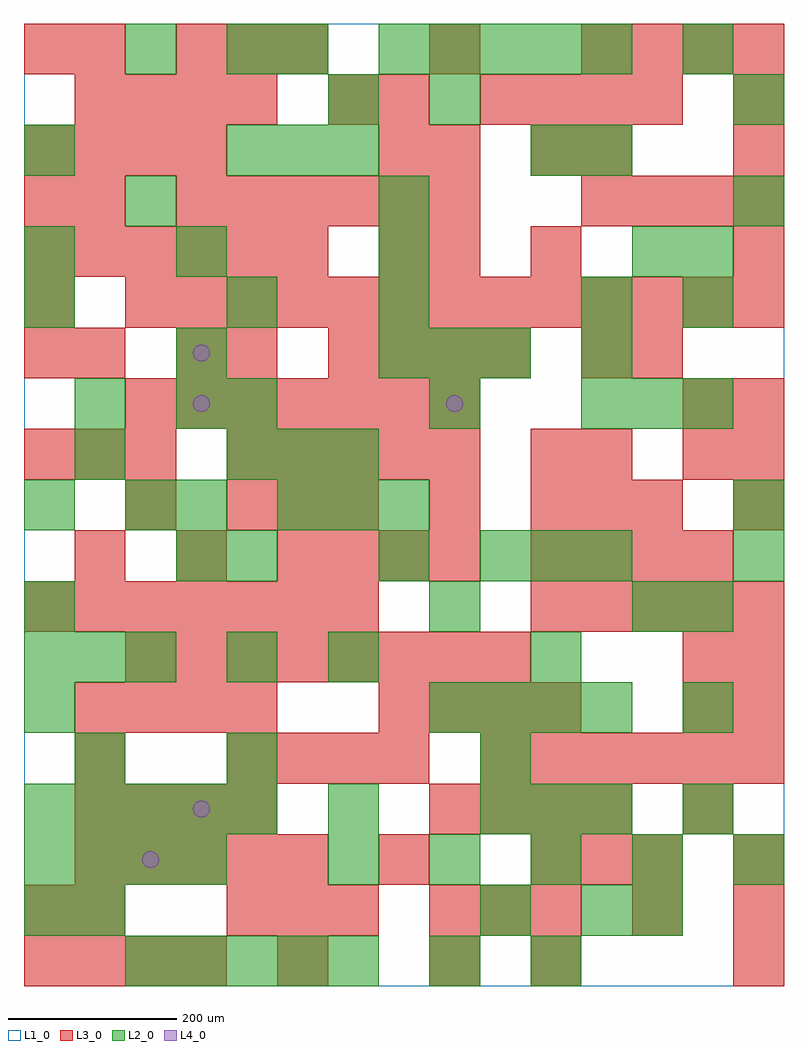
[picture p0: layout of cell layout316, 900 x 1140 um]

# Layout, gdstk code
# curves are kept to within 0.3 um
import gdstk
lib = gdstk.Library(unit=1e-6, precision=1e-09)
def R(c, l, rs):  # rectangles x0, y0, x1, y1
    for r in rs: c.add(gdstk.rectangle(r[:2], r[2:], *l))
def A(c, l, x, y, w, h, nx, ny, dx, dy):  # array of equal rectangles
    R(c, l, [(x+i*dx, y+j*dy, x+i*dx+w, y+j*dy+h) for i in range(nx) for j in range(ny)])
def P(c, l, *ps):  # polygons
    for p in ps: c.add(gdstk.Polygon(p, *l))
L1_0 = (1, 0)
L2_0 = (2, 0)
L3_0 = (3, 0)
L4_0 = (4, 0)

layout316 = lib.new_cell('layout316')
R(layout316, L1_0, [(0,0,900,1140)])
A(layout316, L2_0, 120, 0, 60, 60, 5, 1, 60, 0)
A(layout316, L2_0, 0, 120, 60, 60, 4, 1, 60, 0)
A(layout316, L2_0, 360, 120, 60, 60, 5, 1, 120, 0)
A(layout316, L2_0, 0, 180, 60, 60, 5, 1, 60, 0)
A(layout316, L2_0, 540, 180, 60, 60, 3, 2, 60, 300)
A(layout316, L2_0, 780, 180, 60, 60, 1, 3, 0, 120)
A(layout316, L2_0, 240, 240, 60, 60, 1, 3, 0, 120)
A(layout316, L2_0, 0, 300, 60, 60, 1, 3, 0, 120)
A(layout316, L2_0, 480, 300, 60, 60, 4, 1, 60, 0)
A(layout316, L2_0, 0, 360, 60, 60, 3, 1, 60, 0)
A(layout316, L2_0, 300, 540, 60, 60, 3, 1, 60, 0)
A(layout316, L2_0, 240, 600, 60, 60, 3, 2, 60, 360)
A(layout316, L2_0, 660, 660, 60, 60, 3, 1, 60, 0)
A(layout316, L2_0, 420, 720, 60, 60, 3, 1, 60, 0)
A(layout316, L2_0, 420, 780, 60, 60, 1, 3, 0, 60)
A(layout316, L2_0, 420, 1080, 60, 60, 5, 1, 60, 0)
R(layout316, L2_0, [(480,0,540,60), (600,0,660,60), (0,60,60,120), (60,60,120,120), (540,60,600,120), (660,60,720,120), (720,60,780,120), (360,180,420,240), (60,240,120,300), (540,240,600,300), (360,360,420,420), (600,360,660,420), (480,420,540,480), (720,420,780,480), (180,480,240,540), (420,480,480,540), (840,480,900,540), (120,540,180,600), (180,540,240,600), (840,540,900,600), (60,600,120,660), (60,660,120,720), (180,660,240,720), (240,660,300,720), (480,660,540,720), (180,720,240,780), (660,720,720,780), (0,780,60,840), (240,780,300,840), (660,780,720,840), (780,780,840,840), (0,840,60,900), (180,840,240,900), (720,840,780,900), (780,840,840,900), (120,900,180,960), (840,900,900,960), (0,960,60,1020), (600,960,660,1020), (660,960,720,1020), (360,1020,420,1080), (480,1020,540,1080), (840,1020,900,1080), (120,1080,180,1140), (240,1080,300,1140), (300,1080,360,1140), (780,1080,840,1140)])
A(layout316, L3_0, 0, 0, 60, 60, 4, 2, 60, 960)
A(layout316, L3_0, 840, 0, 60, 60, 1, 3, 0, 60)
A(layout316, L3_0, 240, 60, 60, 60, 3, 2, 60, 480)
A(layout316, L3_0, 480, 60, 60, 60, 3, 1, 60, 0)
A(layout316, L3_0, 60, 120, 60, 60, 5, 1, 60, 0)
A(layout316, L3_0, 600, 120, 60, 60, 3, 2, 60, 420)
A(layout316, L3_0, 60, 180, 60, 60, 4, 2, 60, 120)
A(layout316, L3_0, 480, 180, 60, 60, 4, 1, 60, 0)
A(layout316, L3_0, 240, 240, 60, 60, 4, 1, 60, 0)
A(layout316, L3_0, 540, 240, 60, 60, 6, 1, 60, 0)
A(layout316, L3_0, 420, 300, 60, 60, 4, 1, 60, 0)
A(layout316, L3_0, 120, 360, 60, 60, 8, 1, 60, 0)
A(layout316, L3_0, 0, 420, 60, 60, 7, 1, 60, 0)
A(layout316, L3_0, 600, 420, 60, 60, 5, 1, 60, 0)
A(layout316, L3_0, 60, 480, 60, 60, 3, 1, 120, 0)
A(layout316, L3_0, 360, 480, 60, 60, 3, 1, 60, 0)
A(layout316, L3_0, 600, 480, 60, 60, 4, 1, 60, 0)
A(layout316, L3_0, 840, 540, 60, 60, 1, 3, 0, 60)
A(layout316, L3_0, 0, 600, 60, 60, 3, 1, 60, 0)
A(layout316, L3_0, 240, 600, 60, 60, 5, 1, 60, 0)
A(layout316, L3_0, 120, 660, 60, 60, 7, 1, 60, 0)
A(layout316, L3_0, 60, 720, 60, 60, 1, 3, 0, 180)
A(layout316, L3_0, 360, 720, 60, 60, 4, 1, 60, 0)
A(layout316, L3_0, 120, 780, 60, 60, 13, 1, 60, 0)
A(layout316, L3_0, 0, 840, 60, 60, 6, 1, 60, 0)
A(layout316, L3_0, 480, 840, 60, 60, 1, 3, 0, 120)
A(layout316, L3_0, 180, 900, 60, 60, 6, 1, 60, 0)
A(layout316, L3_0, 660, 900, 60, 60, 4, 2, 60, 180)
A(layout316, L3_0, 60, 1020, 60, 60, 4, 1, 60, 0)
A(layout316, L3_0, 540, 1020, 60, 60, 4, 1, 60, 0)
A(layout316, L3_0, 180, 1080, 60, 60, 3, 1, 60, 0)
R(layout316, L3_0, [(300,0,360,60), (480,0,540,60), (600,0,660,60), (0,60,60,120), (60,60,120,120), (720,60,780,120), (420,120,480,180), (780,180,840,240), (60,240,120,300), (780,300,840,360), (840,300,900,360), (780,360,840,420), (840,360,900,420), (120,540,180,600), (480,540,540,600), (600,600,660,660), (660,600,720,660), (780,600,840,660), (780,660,840,720), (0,720,60,780), (180,720,240,780), (240,720,300,780), (660,720,720,780), (720,720,780,780), (0,780,60,840), (420,840,480,900), (600,840,660,900), (840,840,900,900), (0,900,60,960), (420,960,480,1020), (600,960,660,1020), (660,960,720,1020), (840,960,900,1020), (360,1020,420,1080), (420,1020,480,1080), (840,1020,900,1080), (0,1080,60,1140)])
P(layout316, L4_0, [(160,150),(159.239,153.827),(157.071,157.071),(153.827,159.239),(150,160),(146.173,159.239),(142.929,157.071),(140.761,153.827),(140,150),(140.761,146.173),(142.929,142.929),(146.173,140.761),(150,140),(153.827,140.761),(157.071,142.929),(159.239,146.173)],
  [(220,210),(219.239,213.827),(217.071,217.071),(213.827,219.239),(210,220),(206.173,219.239),(202.929,217.071),(200.761,213.827),(200,210),(200.761,206.173),(202.929,202.929),(206.173,200.761),(210,200),(213.827,200.761),(217.071,202.929),(219.239,206.173)],
  [(220,690),(219.239,693.827),(217.071,697.071),(213.827,699.239),(210,700),(206.173,699.239),(202.929,697.071),(200.761,693.827),(200,690),(200.761,686.173),(202.929,682.929),(206.173,680.761),(210,680),(213.827,680.761),(217.071,682.929),(219.239,686.173)],
  [(220,750),(219.239,753.827),(217.071,757.071),(213.827,759.239),(210,760),(206.173,759.239),(202.929,757.071),(200.761,753.827),(200,750),(200.761,746.173),(202.929,742.929),(206.173,740.761),(210,740),(213.827,740.761),(217.071,742.929),(219.239,746.173)],
  [(520,690),(519.239,693.827),(517.071,697.071),(513.827,699.239),(510,700),(506.173,699.239),(502.929,697.071),(500.761,693.827),(500,690),(500.761,686.173),(502.929,682.929),(506.173,680.761),(510,680),(513.827,680.761),(517.071,682.929),(519.239,686.173)])

lib.write_gds('layout316.gds')
